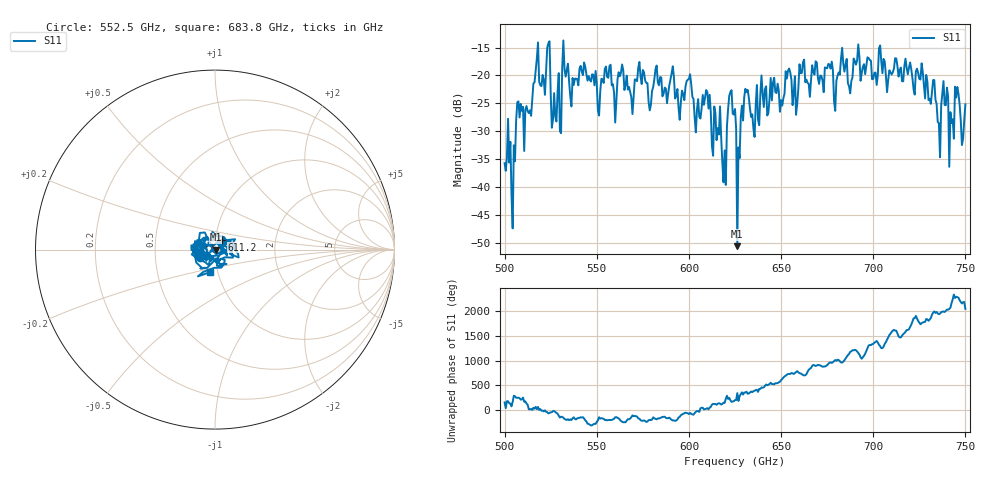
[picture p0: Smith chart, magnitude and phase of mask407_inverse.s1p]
!Created with skrf (http://scikit-rf.org).
# GHz S MA R 50.0
!freq magS11 angS11
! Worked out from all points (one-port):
!   401 points, 500 GHz to 750 GHz, reference 50 ohm
!   lowest |S11| = -50.5 dB at 626.2 GHz (marker M1), VSWR 1.01, Z = 50.3 - j0.069 ohm
!   |S11| at or under -10 dB: start of sweep to end of sweep
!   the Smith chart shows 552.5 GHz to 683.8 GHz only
!   S11 on the Smith chart (normalised r, x): 552.5 GHz: 0.84, -0.07; 611.2 GHz: 1.07, +0.12; 683.8 GHz: 0.92, -0.23
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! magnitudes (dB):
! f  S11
! 500 GHz  -35.7
! 504.4 GHz  -47.4
! 507.5 GHz  -24.6
! 513.8 GHz  -26.2
! 516.9 GHz  -19.0
! 523.8 GHz  -14.2
! 526.9 GHz  -23.2
! 531.2 GHz  -18.6
! 552.5 GHz  -20.6
! 562.5 GHz  -20.1
! 593.8 GHz  -22.4
! 600 GHz  -20.6
! 611.2 GHz  -23.5
! 618.8 GHz  -39.1
! 623.1 GHz  -22.6
! 625 GHz  -26.0
! 626.2 GHz  -50.5
! 631.2 GHz  -23.0
! 634.4 GHz  -27.0
! 656.2 GHz  -25.3
! 683.8 GHz  -17.9
! 687.5 GHz  -23.2
! 718.8 GHz  -19.8
! 735.6 GHz  -28.5
! 738.8 GHz  -25.3
! 742.5 GHz  -28.5
! 745.6 GHz  -22.1
! 750 GHz  -25.2
